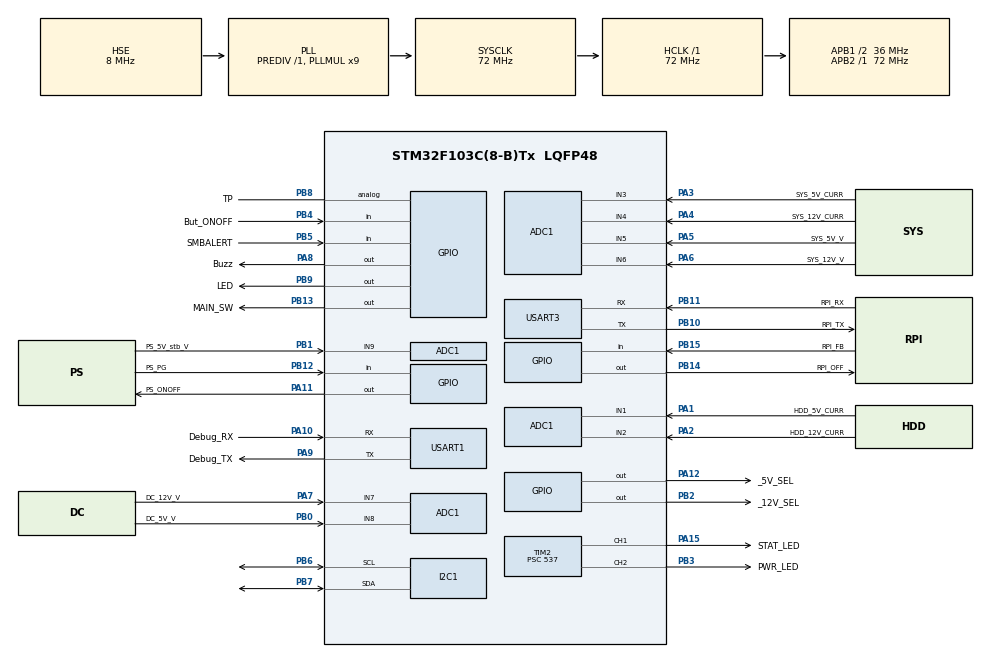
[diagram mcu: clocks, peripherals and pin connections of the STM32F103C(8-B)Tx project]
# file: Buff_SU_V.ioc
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ADC1.Channel-0\#ChannelRegularConversion=ADC_CHANNEL_TEMPSENSOR
ADC1.Channel-1\#ChannelRegularConversion=ADC_CHANNEL_1
ADC1.Channel-2\#ChannelRegularConversion=ADC_CHANNEL_2
ADC1.Channel-3\#ChannelRegularConversion=ADC_CHANNEL_3
ADC1.Channel-4\#ChannelRegularConversion=ADC_CHANNEL_4
ADC1.Channel-5\#ChannelRegularConversion=ADC_CHANNEL_5
ADC1.Channel-6\#ChannelRegularConversion=ADC_CHANNEL_6
ADC1.Channel-7\#ChannelRegularConversion=ADC_CHANNEL_7
ADC1.Channel-8\#ChannelRegularConversion=ADC_CHANNEL_8
ADC1.Channel-9\#ChannelRegularConversion=ADC_CHANNEL_9
ADC1.ContinuousConvMode=ENABLE
ADC1.NbrOfConversion=10
ADC1.NbrOfConversionFlag=1
ADC1.Rank-0\#ChannelRegularConversion=1
ADC1.Rank-1\#ChannelRegularConversion=2
ADC1.Rank-2\#ChannelRegularConversion=3
ADC1.Rank-3\#ChannelRegularConversion=4
ADC1.Rank-4\#ChannelRegularConversion=5
ADC1.Rank-5\#ChannelRegularConversion=6
ADC1.Rank-6\#ChannelRegularConversion=7
ADC1.Rank-7\#ChannelRegularConversion=8
ADC1.Rank-8\#ChannelRegularConversion=9
ADC1.Rank-9\#ChannelRegularConversion=10
ADC1.SamplingTime-0\#ChannelRegularConversion=ADC_SAMPLETIME_239CYCLES_5
ADC1.SamplingTime-1\#ChannelRegularConversion=ADC_SAMPLETIME_1CYCLE_5
ADC1.SamplingTime-2\#ChannelRegularConversion=ADC_SAMPLETIME_1CYCLE_5
ADC1.SamplingTime-3\#ChannelRegularConversion=ADC_SAMPLETIME_1CYCLE_5
ADC1.SamplingTime-4\#ChannelRegularConversion=ADC_SAMPLETIME_1CYCLE_5
ADC1.SamplingTime-5\#ChannelRegularConversion=ADC_SAMPLETIME_1CYCLE_5
ADC1.SamplingTime-6\#ChannelRegularConversion=ADC_SAMPLETIME_1CYCLE_5
ADC1.SamplingTime-7\#ChannelRegularConversion=ADC_SAMPLETIME_1CYCLE_5
ADC1.SamplingTime-8\#ChannelRegularConversion=ADC_SAMPLETIME_1CYCLE_5
ADC1.SamplingTime-9\#ChannelRegularConversion=ADC_SAMPLETIME_1CYCLE_5
ADC1.master=1
Dma.ADC1.0.Direction=DMA_PERIPH_TO_MEMORY
Dma.ADC1.0.Instance=DMA1_Channel1
Dma.ADC1.0.MemDataAlignment=DMA_MDATAALIGN_WORD
Dma.ADC1.0.MemInc=DMA_MINC_ENABLE
Dma.ADC1.0.Mode=DMA_CIRCULAR
Dma.ADC1.0.PeriphDataAlignment=DMA_PDATAALIGN_WORD
Dma.ADC1.0.PeriphInc=DMA_PINC_DISABLE
Dma.ADC1.0.Priority=DMA_PRIORITY_LOW
Dma.Request0=ADC1
Dma.Request1=USART3_TX
Dma.USART3_TX.1.Direction=DMA_MEMORY_TO_PERIPH
Dma.USART3_TX.1.Instance=DMA1_Channel2
Dma.USART3_TX.1.MemDataAlignment=DMA_MDATAALIGN_BYTE
Dma.USART3_TX.1.MemInc=DMA_MINC_ENABLE
Dma.USART3_TX.1.Mode=DMA_NORMAL
Dma.USART3_TX.1.PeriphDataAlignment=DMA_PDATAALIGN_BYTE
Dma.USART3_TX.1.PeriphInc=DMA_PINC_DISABLE
Dma.USART3_TX.1.Priority=DMA_PRIORITY_LOW
I2C1.I2C_Mode=I2C_Fast
Mcu.Family=STM32F1
Mcu.Name=STM32F103C(8-B)Tx
Mcu.Package=LQFP48
NVIC.DMA1_Channel1_IRQn=true\:0\:0\:false\:false\:true\:false\:true
NVIC.DMA1_Channel2_IRQn=true\:0\:0\:false\:false\:true\:false\:true
NVIC.PriorityGroup=NVIC_PRIORITYGROUP_4
NVIC.RCC_IRQn=true\:0\:0\:false\:false\:true\:true\:false
NVIC.TIM2_IRQn=true\:0\:0\:false\:false\:true\:true\:true
NVIC.USART1_IRQn=true\:0\:0\:false\:false\:true\:true\:true
NVIC.USART3_IRQn=true\:0\:0\:false\:false\:true\:true\:true
PA0-WKUP.Mode=SYS_WakeUp0
PA0-WKUP.Signal=SYS_WKUP
PA1.GPIO_Label=HDD_5V_CURR
PA1.Signal=ADCx_IN1
PA10.GPIO_Label=Debug_RX
PA10.Mode=Asynchronous
PA10.Signal=USART1_RX
PA11.GPIO_Label=PS_ONOFF
PA11.Signal=GPIO_Output
PA12.GPIO_Label=_5V_SEL
PA12.Signal=GPIO_Output
PA13.Mode=Serial_Wire
PA13.Signal=SYS_JTMS-SWDIO
PA14.Mode=Serial_Wire
PA14.Signal=SYS_JTCK-SWCLK
PA15.GPIO_Label=STAT_LED
PA15.Signal=S_TIM2_CH1_ETR
PA2.GPIO_Label=HDD_12V_CURR
PA2.Signal=ADCx_IN2
PA3.GPIO_Label=SYS_5V_CURR
PA3.Signal=ADCx_IN3
PA4.GPIO_Label=SYS_12V_CURR
PA4.Signal=ADCx_IN4
PA5.GPIO_Label=SYS_5V_V
PA5.Signal=ADCx_IN5
PA6.GPIO_Label=SYS_12V_V
PA6.Signal=ADCx_IN6
PA7.GPIO_Label=DC_12V_V
PA7.Signal=ADCx_IN7
PA8.GPIO_Label=Buzz
PA8.Signal=GPIO_Output
PA9.GPIO_Label=Debug_TX
PA9.Mode=Asynchronous
PA9.Signal=USART1_TX
PB0.GPIO_Label=DC_5V_V
PB0.Signal=ADCx_IN8
PB1.GPIO_Label=PS_5V_stb_V
PB1.Signal=ADCx_IN9
PB10.GPIO_Label=RPI_TX
PB10.Mode=Asynchronous
PB10.Signal=USART3_TX
PB11.GPIO_Label=RPI_RX
PB11.Mode=Asynchronous
PB11.Signal=USART3_RX
PB12.GPIO_Label=PS_PG
PB12.Signal=GPIO_Input
PB13.GPIO_Label=MAIN_SW
PB13.Signal=GPIO_Output
PB14.GPIO_Label=RPI_OFF
PB14.Signal=GPIO_Output
PB15.GPIO_Label=RPI_FB
PB15.Signal=GPIO_Input
PB2.GPIO_Label=_12V_SEL
PB2.Signal=GPIO_Output
PB3.GPIO_Label=PWR_LED
PB3.Signal=S_TIM2_CH2
PB4.GPIO_Label=But_ONOFF
PB4.Signal=GPIO_Input
PB5.GPIO_Label=SMBALERT
PB5.Signal=GPIO_Input
PB6.Mode=I2C
PB6.Signal=I2C1_SCL
PB7.Mode=I2C
PB7.Signal=I2C1_SDA
PB8.GPIO_Label=TP
PB8.Signal=GPIO_Analog
PB9.GPIO_Label=LED
PB9.Signal=GPIO_Output
PD0-OSC_IN.Mode=HSE-External-Oscillator
PD0-OSC_IN.Signal=RCC_OSC_IN
PD1-OSC_OUT.Mode=HSE-External-Oscillator
PD1-OSC_OUT.Signal=RCC_OSC_OUT
ProjectManager.HeapSize=0x200
ProjectManager.StackSize=0x400
ProjectManager.TargetToolchain=TrueSTUDIO
RCC.ADCPresc=RCC_ADCPCLK2_DIV6
RCC.AHBFreq_Value=72000000
RCC.APB1CLKDivider=RCC_HCLK_DIV2
RCC.APB1Freq_Value=36000000
RCC.APB1TimFreq_Value=72000000
RCC.APB2Freq_Value=72000000
RCC.APB2TimFreq_Value=72000000
RCC.HCLKFreq_Value=72000000
RCC.PLLMUL=RCC_PLL_MUL9
RCC.PLLSourceVirtual=RCC_PLLSOURCE_HSE
RCC.SYSCLKFreq_VALUE=72000000
RCC.SYSCLKSource=RCC_SYSCLKSOURCE_PLLCLK
RCC.USBFreq_Value=72000000
SH.ADCx_IN1.0=ADC1_IN1,IN1
SH.ADCx_IN2.0=ADC1_IN2,IN2
SH.ADCx_IN3.0=ADC1_IN3,IN3
SH.ADCx_IN4.0=ADC1_IN4,IN4
SH.ADCx_IN5.0=ADC1_IN5,IN5
SH.ADCx_IN6.0=ADC1_IN6,IN6
SH.ADCx_IN7.0=ADC1_IN7,IN7
SH.ADCx_IN8.0=ADC1_IN8,IN8
SH.ADCx_IN9.0=ADC1_IN9,IN9
SH.S_TIM2_CH1_ETR.0=TIM2_CH1,PWM Generation1 CH1
SH.S_TIM2_CH2.0=TIM2_CH2,PWM Generation2 CH2
TIM2.Channel-PWM\ Generation1\ CH1=TIM_CHANNEL_1
TIM2.Channel-PWM\ Generation2\ CH2=TIM_CHANNEL_2
TIM2.Period=256
TIM2.Prescaler=537
USART1.VirtualMode=VM_ASYNC
USART3.VirtualMode=VM_ASYNC
VP_ADC1_TempSens_Input.Mode=IN-TempSens
VP_IWDG_VS_IWDG.Mode=IWDG_Activate
VP_TIM2_VS_ClockSourceINT.Mode=Internal
board=custom

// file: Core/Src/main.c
/* USER CODE BEGIN Header */
/**
  ******************************************************************************
  * @file           : main.c
  * @brief          : Main program body
  ******************************************************************************
  * @attention
  *
  * <h2><center>&copy; Copyright (c) 2021 STMicroelectronics.
  * All rights reserved.</center></h2>
  *
  * This software component is licensed by ST under BSD 3-Clause license,
  * the "License"; You may not use this file except in compliance with the
  * License. You may obtain a copy of the License at:
  *                        opensource.org/licenses/BSD-3-Clause
  *
  ******************************************************************************
  */
/* USER CODE END Header */
#include "main.h"

/* USER CODE BEGIN Includes */
#include "cli.h"
#include "signaling.h"
#include "adc.h"
#include "ltc4015.h"
#include "buff.h"
#include "config.h"
#include <stdio.h>
/* USER CODE END Includes */

ADC_HandleTypeDef hadc1;
DMA_HandleTypeDef hdma_adc1;

I2C_HandleTypeDef hi2c1;

IWDG_HandleTypeDef hiwdg;

TIM_HandleTypeDef htim2;

UART_HandleTypeDef huart1;
UART_HandleTypeDef huart3;
DMA_HandleTypeDef hdma_usart3_tx;

void SystemClock_Config(void);
static void MX_GPIO_Init(void);
static void MX_DMA_Init(void);
static void MX_ADC1_Init(void);
static void MX_I2C1_Init(void);
static void MX_USART1_UART_Init(void);
static void MX_USART3_UART_Init(void);
static void MX_TIM2_Init(void);
static void MX_IWDG_Init(void);

int main(void)
{

  /* MCU Configuration--------------------------------------------------------*/

  /* Reset of all peripherals, Initializes the Flash interface and the Systick. */
  HAL_Init();

  /* Configure the system clock */
  SystemClock_Config();

  /* Initialize all configured peripherals */
  MX_GPIO_Init();
  MX_USART1_UART_Init();
  MX_TIM2_Init();
  PWM_Init_Timers();
//  MX_IWDG_Init();
  /* USER CODE BEGIN 2 */
  printf("Initializing ...\r\n");
  check_powerOn();
  MX_DMA_Init();
  MX_ADC1_Init();
  MX_I2C1_Init();
  MX_USART3_UART_Init();
  HAL_UART_RxCpltCallback(&huart1);
  HAL_UART_RxCpltCallback(&huart3);
  if (LTC4015_check())
  {
	  LTC4015_conf();
  } else {
	  printf("LTC4015 init once again ...\r\n");
	  if (LTC4015_check())
	  {
		  LTC4015_conf();
	  } else printf("No way, LTC4015 not working\r\n");
  }
  ADC_DMA_Start();
  /* USER CODE END 2 */
  Config_init();
  HAL_Delay(50);
  PWR_LED_ON();
  ledSweepStat(30,0xFFFF,15);
  tlm.start_val = 0xFFFE; //telemetry 2 start bytes
  /* Infinite loop */
  /* USER CODE BEGIN WHILE */
  uint32_t ticks100ms = HAL_GetTick();
  uint32_t ticks1s = HAL_GetTick();
  uint32_t ticks10ms = HAL_GetTick();
  uint32_t RPI_FB_Mask = HAL_GetTick();
  while (1)
  {
    /* USER CODE END WHILE */
	  CLI();
      ps_pg_state = PS_PG_READ();
	  if(HAL_GetTick()-ticks10ms >= 10)
	  {
	  	  ticks10ms = HAL_GetTick();
	  	  supply_check_select();
	  	  tlm.smb = SMBALERT_READ();
	  	  if(HAL_GetTick()-RPI_FB_Mask > 180000)
	  	  {
	  		check_powerOff();
	  	  }

	  }
	  if(HAL_GetTick()-ticks100ms >= 100)
	  {
	      ticks100ms = HAL_GetTick();
	      BUFF_fill_values();
	  }
	  if(HAL_GetTick()-ticks1s >= 1000)
	  {
	  	    ticks1s = HAL_GetTick();
		    LED_TOGGLE();
		    switch (debug_level)
		    {
		      	case 1:
		      		print_regs();
		      		break;
		      	case 2:
		      		print_volt_curr();
		      		break;

		      	case 0:
		      	default:
		      		break;
		    }
	  }
    /* USER CODE BEGIN 3 */
	  telemetryRX();
	  if (telem_run == 1) telemetrySend();
  }
  /* USER CODE END 3 */
}

void SystemClock_Config(void)
{
  RCC_OscInitTypeDef RCC_OscInitStruct = {0};
  RCC_ClkInitTypeDef RCC_ClkInitStruct = {0};
  RCC_PeriphCLKInitTypeDef PeriphClkInit = {0};

  /** Initializes the RCC Oscillators according to the specified parameters
  * in the RCC_OscInitTypeDef structure.
  */
  RCC_OscInitStruct.OscillatorType = RCC_OSCILLATORTYPE_LSI|RCC_OSCILLATORTYPE_HSE;
  RCC_OscInitStruct.HSEState = RCC_HSE_ON;
  RCC_OscInitStruct.HSEPredivValue = RCC_HSE_PREDIV_DIV1;
  RCC_OscInitStruct.HSIState = RCC_HSI_ON;
  RCC_OscInitStruct.LSIState = RCC_LSI_ON;
  RCC_OscInitStruct.PLL.PLLState = RCC_PLL_ON;
  RCC_OscInitStruct.PLL.PLLSource = RCC_PLLSOURCE_HSE;
  RCC_OscInitStruct.PLL.PLLMUL = RCC_PLL_MUL9;
  if (HAL_RCC_OscConfig(&RCC_OscInitStruct) != HAL_OK)
  {
    Error_Handler();
  }
  /** Initializes the CPU, AHB and APB buses clocks
  */
  RCC_ClkInitStruct.ClockType = RCC_CLOCKTYPE_HCLK|RCC_CLOCKTYPE_SYSCLK
                              |RCC_CLOCKTYPE_PCLK1|RCC_CLOCKTYPE_PCLK2;
  RCC_ClkInitStruct.SYSCLKSource = RCC_SYSCLKSOURCE_PLLCLK;
  RCC_ClkInitStruct.AHBCLKDivider = RCC_SYSCLK_DIV1;
  RCC_ClkInitStruct.APB1CLKDivider = RCC_HCLK_DIV2;
  RCC_ClkInitStruct.APB2CLKDivider = RCC_HCLK_DIV1;

  if (HAL_RCC_ClockConfig(&RCC_ClkInitStruct, FLASH_LATENCY_2) != HAL_OK)
  {
    Error_Handler();
  }
  PeriphClkInit.PeriphClockSelection = RCC_PERIPHCLK_ADC;
  PeriphClkInit.AdcClockSelection = RCC_ADCPCLK2_DIV6;
  if (HAL_RCCEx_PeriphCLKConfig(&PeriphClkInit) != HAL_OK)
  {
    Error_Handler();
  }
}

static void MX_ADC1_Init(void)
{

  ADC_ChannelConfTypeDef sConfig = {0};

  /** Common config
  */
  hadc1.Instance = ADC1;
  hadc1.Init.ScanConvMode = ADC_SCAN_ENABLE;
  hadc1.Init.ContinuousConvMode = ENABLE;
  hadc1.Init.DiscontinuousConvMode = DISABLE;
  hadc1.Init.ExternalTrigConv = ADC_SOFTWARE_START;
  hadc1.Init.DataAlign = ADC_DATAALIGN_RIGHT;
  hadc1.Init.NbrOfConversion = 10;
  if (HAL_ADC_Init(&hadc1) != HAL_OK)
  {
    Error_Handler();
  }
  /** Configure Regular Channel
  */
  sConfig.Channel = ADC_CHANNEL_TEMPSENSOR;
  sConfig.Rank = ADC_REGULAR_RANK_1;
  sConfig.SamplingTime = ADC_SAMPLETIME_239CYCLES_5;
  if (HAL_ADC_ConfigChannel(&hadc1, &sConfig) != HAL_OK)
  {
    Error_Handler();
  }
  /** Configure Regular Channel
  */
  sConfig.Channel = ADC_CHANNEL_1;
  sConfig.Rank = ADC_REGULAR_RANK_2;
  sConfig.SamplingTime = ADC_SAMPLETIME_1CYCLE_5;
  if (HAL_ADC_ConfigChannel(&hadc1, &sConfig) != HAL_OK)
  {
    Error_Handler();
  }
  /** Configure Regular Channel
  */
  sConfig.Channel = ADC_CHANNEL_2;
  sConfig.Rank = ADC_REGULAR_RANK_3;
  if (HAL_ADC_ConfigChannel(&hadc1, &sConfig) != HAL_OK)
  {
    Error_Handler();
  }
  /** Configure Regular Channel
  */
  sConfig.Channel = ADC_CHANNEL_3;
  sConfig.Rank = ADC_REGULAR_RANK_4;
  if (HAL_ADC_ConfigChannel(&hadc1, &sConfig) != HAL_OK)
  {
    Error_Handler();
  }
  /** Configure Regular Channel
  */
  sConfig.Channel = ADC_CHANNEL_4;
  sConfig.Rank = ADC_REGULAR_RANK_5;
  if (HAL_ADC_ConfigChannel(&hadc1, &sConfig) != HAL_OK)
  {
    Error_Handler();
  }
  /** Configure Regular Channel
  */
  sConfig.Channel = ADC_CHANNEL_5;
  sConfig.Rank = ADC_REGULAR_RANK_6;
  if (HAL_ADC_ConfigChannel(&hadc1, &sConfig) != HAL_OK)
  {
    Error_Handler();
  }
  /** Configure Regular Channel
  */
  sConfig.Channel = ADC_CHANNEL_6;
  sConfig.Rank = ADC_REGULAR_RANK_7;
  if (HAL_ADC_ConfigChannel(&hadc1, &sConfig) != HAL_OK)
  {
    Error_Handler();
  }
  /** Configure Regular Channel
  */
  sConfig.Channel = ADC_CHANNEL_7;
  sConfig.Rank = ADC_REGULAR_RANK_8;
  if (HAL_ADC_ConfigChannel(&hadc1, &sConfig) != HAL_OK)
  {
    Error_Handler();
  }
  /** Configure Regular Channel
  */
  sConfig.Channel = ADC_CHANNEL_8;
  sConfig.Rank = ADC_REGULAR_RANK_9;
  if (HAL_ADC_ConfigChannel(&hadc1, &sConfig) != HAL_OK)
  {
    Error_Handler();
  }
  /** Configure Regular Channel
  */
  sConfig.Channel = ADC_CHANNEL_9;
  sConfig.Rank = ADC_REGULAR_RANK_10;
  if (HAL_ADC_ConfigChannel(&hadc1, &sConfig) != HAL_OK)
  {
    Error_Handler();
  }

}

static void MX_I2C1_Init(void)
{

  hi2c1.Instance = I2C1;
  hi2c1.Init.ClockSpeed = 400000;
  hi2c1.Init.DutyCycle = I2C_DUTYCYCLE_2;
  hi2c1.Init.OwnAddress1 = 0;
  hi2c1.Init.AddressingMode = I2C_ADDRESSINGMODE_7BIT;
  hi2c1.Init.DualAddressMode = I2C_DUALADDRESS_DISABLE;
  hi2c1.Init.OwnAddress2 = 0;
  hi2c1.Init.GeneralCallMode = I2C_GENERALCALL_DISABLE;
  hi2c1.Init.NoStretchMode = I2C_NOSTRETCH_DISABLE;
  if (HAL_I2C_Init(&hi2c1) != HAL_OK)
  {
    Error_Handler();
  }

}

static void MX_IWDG_Init(void)
{

  hiwdg.Instance = IWDG;
  hiwdg.Init.Prescaler = IWDG_PRESCALER_4;
  hiwdg.Init.Reload = 4095;
  if (HAL_IWDG_Init(&hiwdg) != HAL_OK)
  {
    Error_Handler();
  }

}

static void MX_TIM2_Init(void)
{

  TIM_ClockConfigTypeDef sClockSourceConfig = {0};
  TIM_MasterConfigTypeDef sMasterConfig = {0};
  TIM_OC_InitTypeDef sConfigOC = {0};

  htim2.Instance = TIM2;
  htim2.Init.Prescaler = 537;
  htim2.Init.CounterMode = TIM_COUNTERMODE_UP;
  htim2.Init.Period = 256;
  htim2.Init.ClockDivision = TIM_CLOCKDIVISION_DIV1;
  htim2.Init.AutoReloadPreload = TIM_AUTORELOAD_PRELOAD_DISABLE;
  if (HAL_TIM_Base_Init(&htim2) != HAL_OK)
  {
    Error_Handler();
  }
  sClockSourceConfig.ClockSource = TIM_CLOCKSOURCE_INTERNAL;
  if (HAL_TIM_ConfigClockSource(&htim2, &sClockSourceConfig) != HAL_OK)
  {
    Error_Handler();
  }
  if (HAL_TIM_PWM_Init(&htim2) != HAL_OK)
  {
    Error_Handler();
  }
  sMasterConfig.MasterOutputTrigger = TIM_TRGO_RESET;
  sMasterConfig.MasterSlaveMode = TIM_MASTERSLAVEMODE_DISABLE;
  if (HAL_TIMEx_MasterConfigSynchronization(&htim2, &sMasterConfig) != HAL_OK)
  {
    Error_Handler();
  }
  sConfigOC.OCMode = TIM_OCMODE_PWM1;
  sConfigOC.Pulse = 0;
  sConfigOC.OCPolarity = TIM_OCPOLARITY_HIGH;
  sConfigOC.OCFastMode = TIM_OCFAST_DISABLE;
  if (HAL_TIM_PWM_ConfigChannel(&htim2, &sConfigOC, TIM_CHANNEL_1) != HAL_OK)
  {
    Error_Handler();
  }
  if (HAL_TIM_PWM_ConfigChannel(&htim2, &sConfigOC, TIM_CHANNEL_2) != HAL_OK)
  {
    Error_Handler();
  }
  HAL_TIM_MspPostInit(&htim2);

}

static void MX_USART1_UART_Init(void)
{

  huart1.Instance = USART1;
  huart1.Init.BaudRate = 115200;
  huart1.Init.WordLength = UART_WORDLENGTH_8B;
  huart1.Init.StopBits = UART_STOPBITS_1;
  huart1.Init.Parity = UART_PARITY_NONE;
  huart1.Init.Mode = UART_MODE_TX_RX;
  huart1.Init.HwFlowCtl = UART_HWCONTROL_NONE;
  huart1.Init.OverSampling = UART_OVERSAMPLING_16;
  if (HAL_UART_Init(&huart1) != HAL_OK)
  {
    Error_Handler();
  }

}

static void MX_USART3_UART_Init(void)
{

  huart3.Instance = USART3;
  huart3.Init.BaudRate = 115200;
  huart3.Init.WordLength = UART_WORDLENGTH_8B;
  huart3.Init.StopBits = UART_STOPBITS_1;
  huart3.Init.Parity = UART_PARITY_NONE;
  huart3.Init.Mode = UART_MODE_TX_RX;
  huart3.Init.HwFlowCtl = UART_HWCONTROL_NONE;
  huart3.Init.OverSampling = UART_OVERSAMPLING_16;
  if (HAL_UART_Init(&huart3) != HAL_OK)
  {
    Error_Handler();
  }

}

static void MX_DMA_Init(void)
{

  /* DMA controller clock enable */
  __HAL_RCC_DMA1_CLK_ENABLE();

  /* DMA interrupt init */
  /* DMA1_Channel1_IRQn interrupt configuration */
  HAL_NVIC_SetPriority(DMA1_Channel1_IRQn, 0, 0);
  HAL_NVIC_EnableIRQ(DMA1_Channel1_IRQn);
  /* DMA1_Channel2_IRQn interrupt configuration */
  HAL_NVIC_SetPriority(DMA1_Channel2_IRQn, 0, 0);
  HAL_NVIC_EnableIRQ(DMA1_Channel2_IRQn);

}

static void MX_GPIO_Init(void)
{
  GPIO_InitTypeDef GPIO_InitStruct = {0};

  /* GPIO Ports Clock Enable */
  __HAL_RCC_GPIOC_CLK_ENABLE();
  __HAL_RCC_GPIOD_CLK_ENABLE();
  __HAL_RCC_GPIOA_CLK_ENABLE();
  __HAL_RCC_GPIOB_CLK_ENABLE();

  /*Configure GPIO pin Output Level */
  HAL_GPIO_WritePin(GPIOB, _12V_SEL_Pin|MAIN_SW_Pin|RPI_OFF_Pin|LED_Pin, GPIO_PIN_RESET);

  /*Configure GPIO pin Output Level */
  HAL_GPIO_WritePin(GPIOA, Buzz_Pin|PS_ONOFF_Pin|_5V_SEL_Pin, GPIO_PIN_RESET);

  /*Configure GPIO pins : PC13 PC14 PC15 */
  GPIO_InitStruct.Pin = GPIO_PIN_13|GPIO_PIN_14|GPIO_PIN_15;
  GPIO_InitStruct.Mode = GPIO_MODE_ANALOG;
  HAL_GPIO_Init(GPIOC, &GPIO_InitStruct);

  /*Configure GPIO pins : _12V_SEL_Pin MAIN_SW_Pin RPI_OFF_Pin LED_Pin */
  GPIO_InitStruct.Pin = _12V_SEL_Pin|MAIN_SW_Pin|RPI_OFF_Pin|LED_Pin;
  GPIO_InitStruct.Mode = GPIO_MODE_OUTPUT_PP;
  GPIO_InitStruct.Pull = GPIO_NOPULL;
  GPIO_InitStruct.Speed = GPIO_SPEED_FREQ_LOW;
  HAL_GPIO_Init(GPIOB, &GPIO_InitStruct);

  /*Configure GPIO pins : PS_PG_Pin RPI_FB_Pin But_ONOFF_Pin SMBALERT_Pin */
  GPIO_InitStruct.Pin = PS_PG_Pin|RPI_FB_Pin|But_ONOFF_Pin|SMBALERT_Pin;
  GPIO_InitStruct.Mode = GPIO_MODE_INPUT;
  GPIO_InitStruct.Pull = GPIO_NOPULL;
  HAL_GPIO_Init(GPIOB, &GPIO_InitStruct);

  /*Configure GPIO pins : Buzz_Pin PS_ONOFF_Pin _5V_SEL_Pin */
  GPIO_InitStruct.Pin = Buzz_Pin|PS_ONOFF_Pin|_5V_SEL_Pin;
  GPIO_InitStruct.Mode = GPIO_MODE_OUTPUT_PP;
  GPIO_InitStruct.Pull = GPIO_NOPULL;
  GPIO_InitStruct.Speed = GPIO_SPEED_FREQ_LOW;
  HAL_GPIO_Init(GPIOA, &GPIO_InitStruct);

  /*Configure GPIO pin : TP_Pin */
  GPIO_InitStruct.Pin = TP_Pin;
  GPIO_InitStruct.Mode = GPIO_MODE_ANALOG;
  HAL_GPIO_Init(TP_GPIO_Port, &GPIO_InitStruct);

}

void Error_Handler(void)
{
  __disable_irq();
  while (1)
  {
  }
}

/************************ (C) COPYRIGHT STMicroelectronics *****END OF FILE****/
